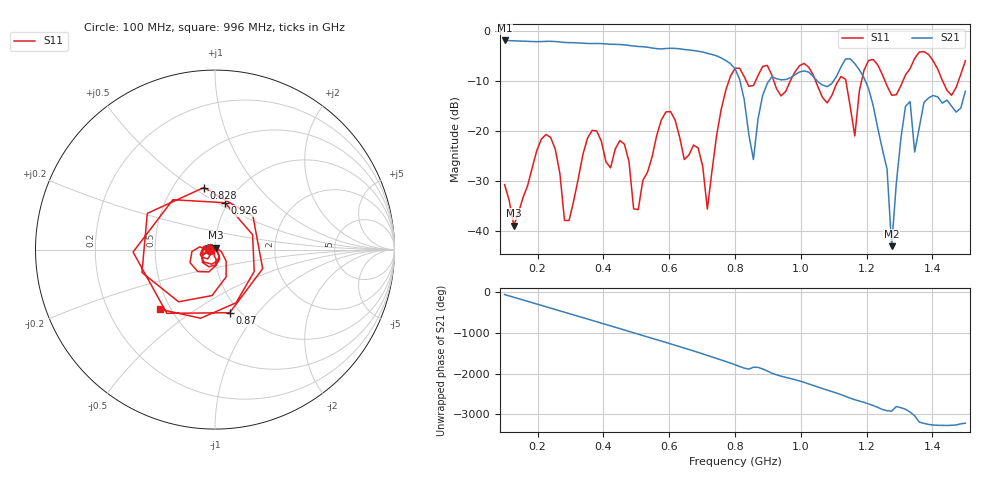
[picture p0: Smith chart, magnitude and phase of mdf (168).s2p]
! NanoVNA-App
! Date: 2025-09-25 15:39:44
! Start: 100MHz Stop: 1,5GHz Points: 101
! S-Parameter data: F S11 S21 S12 S22
# Hz S RI R 50
!  Frequency  S11_Real  S11_Imag  S21_Real  S21_Imag  S12_Real  S12_Imag  S22_Real  S22_Imag
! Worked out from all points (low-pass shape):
!   101 points, 100 MHz to 1.5 GHz, reference 50 ohm
!   highest |S21| = -1.80 dB at 100 MHz (marker M1); lowest = -43.1 dB at 1.276 GHz (marker M2)
!   |S21| within 3 dB of the highest: start of sweep to 739.3 MHz
!   lowest |S11| = -39.0 dB at 128 MHz (marker M3), VSWR 1.02, Z = 50.3 + j1.07 ohm
!   |S11| at or under -10 dB: start of sweep to 781 MHz; 1.045 GHz to 1.113 GHz (68.09 MHz wide, 6.31 % of centre); 1.256 GHz to 1.31 GHz (53.7 MHz wide, 4.19 % of centre) (the widest 3 of 7)
!   S12 and S22 are empty: the file has one direction only
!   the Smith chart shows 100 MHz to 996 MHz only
!   S11 on the Smith chart (normalised r, x): 100 MHz: 0.94, -0.01; 828 MHz: 0.70, +0.55; 870 MHz: 0.90, -0.73; 926 MHz: 0.97, +0.54; 996 MHz: 0.44, -0.36
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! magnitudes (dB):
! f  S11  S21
! 100 MHz  -30.8  -1.8
! 128 MHz  -39.0  -1.9
! 212 MHz  -21.6  -2.0
! 282 MHz  -38.0  -2.2
! 338 MHz  -24.7  -2.4
! 464 MHz  -22.6  -2.7
! 506 MHz  -35.8  -3.0
! 576 MHz  -17.8  -3.5
! 716 MHz  -35.7  -4.4
! 800 MHz  -7.4  -7.5
! 828 MHz  -9.1  -13.7
! 870 MHz  -8.8  -17.5
! 926 MHz  -11.5  -9.5
! 996 MHz  -6.9  -8.1
! 1.038 GHz  -8.8  -9.1
! 1.164 GHz  -21.0  -6.5
! 1.192 GHz  -7.8  -9.3
! 1.262 GHz  -10.9  -27.7
! 1.276 GHz  -12.8  -43.1
! 1.318 GHz  -8.7  -15.0
! 1.346 GHz  -5.4  -24.2
! 1.5 GHz  -5.9  -12.0
